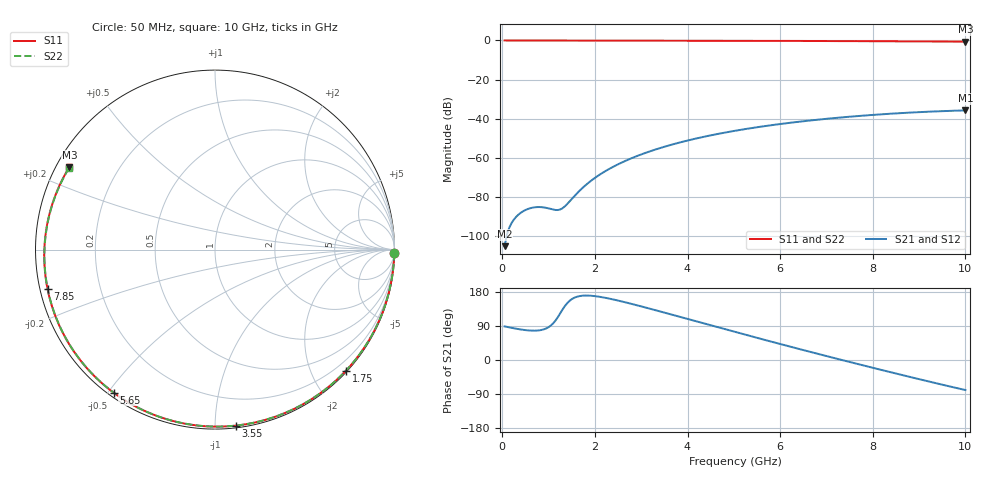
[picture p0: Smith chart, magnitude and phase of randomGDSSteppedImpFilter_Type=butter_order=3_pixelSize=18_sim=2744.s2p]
! freq	dB(S11)	phase(S11)	dB(S12)	phase(S12)
!  dB(S21)	phase(S21)	dB(S22)	phase(S22)
!S-par simulation data
#  GHz  S  DB  R 50
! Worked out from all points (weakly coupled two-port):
!   200 points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, 50 MHz to 10 GHz, reference 50 ohm
!   highest |S21| = -35.82 dB at 10 GHz (marker M1); lowest = -105.3 dB at 50 MHz (marker M2)
!   lowest |S11| = -0.6 dB at 10 GHz (marker M3), VSWR 28.76, Z = 1.86 + j13.2 ohm
!   |S11| at or under -10 dB: nowhere
!   |S22| runs from -0.6 to 0.0 dB; largest |S21 - S12| = 0
!   S11 on the Smith chart (normalised r, x): 50 MHz: 2, -95; 1.75 GHz: 0.02, -2.56; 3.55 GHz: 0.01, -1.13; 5.65 GHz: 0.01, -0.52; 7.85 GHz: 0.02, -0.12; 10 GHz: 0.04, +0.26
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0.05  -0.00 -1.2  -105.33 88.7  -105.33 88.7  -0.00 -1.2
0.45  -0.02 -11.2  -87.44 79.6  -87.44 79.6  -0.02 -11.0
0.8  -0.03 -19.8  -85.30 78.3  -85.30 78.3  -0.03 -19.5
1.15  -0.04 -28.4  -86.81 104.3  -86.81 104.3  -0.04 -27.9
1.55  -0.05 -38.0  -79.86 164.0  -79.86 164.0  -0.05 -37.4
1.75  -0.05 -42.7  -75.12 169.9  -75.12 169.9  -0.05 -42.1
2.05  -0.06 -49.8  -69.55 167.8  -69.55 167.8  -0.06 -49.0
2.45  -0.07 -59.0  -64.00 158.3  -64.00 158.3  -0.07 -58.1
2.9  -0.09 -69.1  -59.26 144.7  -59.26 144.7  -0.09 -68.1
3.4  -0.10 -80.0  -55.15 128.4  -55.15 128.4  -0.10 -78.9
3.55  -0.11 -83.2  -54.08 123.4  -54.08 123.4  -0.11 -82.1
4.3  -0.14 -98.8  -49.60 98.3  -49.60 98.3  -0.14 -97.6
5.05  -0.17 -113.7  -46.15 73.3  -46.15 73.3  -0.17 -112.5
5.65  -0.20 -125.4  -43.92 53.6  -43.92 53.6  -0.20 -124.1
6.2  -0.24 -135.8  -42.19 35.8  -42.19 35.8  -0.24 -134.6
6.7  -0.27 -145.2  -40.85 19.8  -40.85 19.8  -0.27 -144.0
7.3  -0.32 -156.4  -39.46 1.0  -39.46 1.0  -0.32 -155.3
7.85  -0.37 -166.8  -38.39 -16.0  -38.39 -16.0  -0.37 -165.8
8.35  -0.42 -176.3  -37.56 -31.2  -37.56 -31.2  -0.42 -175.4
8.8  -0.47 174.9  -36.94 -44.6  -36.94 -44.6  -0.47 175.7
9.2  -0.51 167.0  -36.48 -56.4  -36.48 -56.4  -0.52 167.6
10  -0.60 150.4  -35.82 -79.3  -35.82 -79.3  -0.62 150.7
